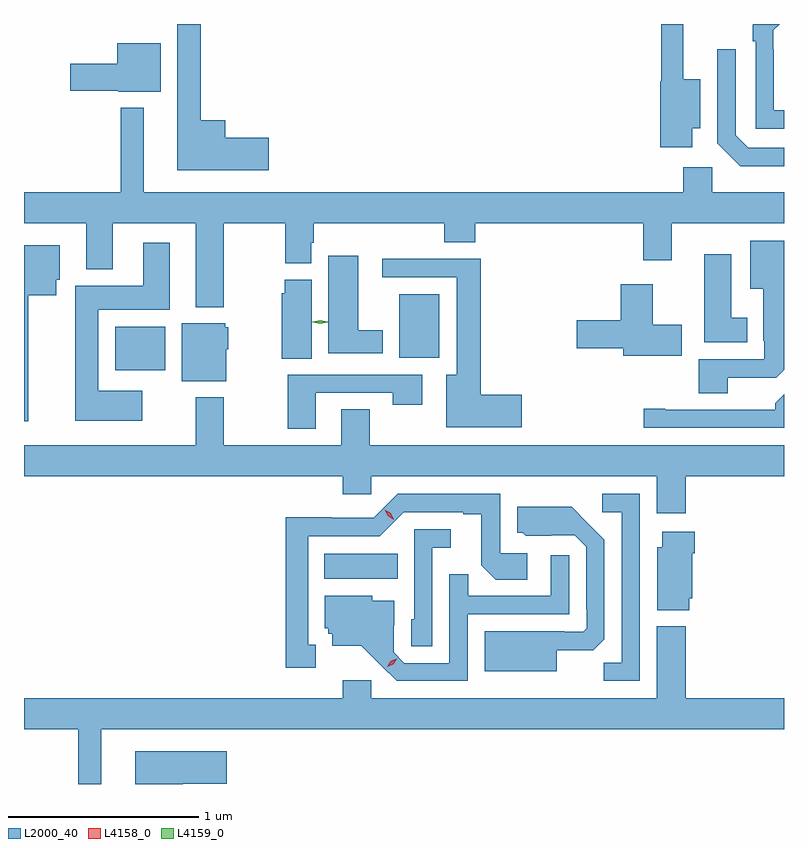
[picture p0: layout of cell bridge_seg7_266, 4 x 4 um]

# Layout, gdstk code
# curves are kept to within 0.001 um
import gdstk
lib = gdstk.Library(unit=1e-6, precision=1e-09)
def R(c, l, rs):  # rectangles x0, y0, x1, y1
    for r in rs: c.add(gdstk.rectangle(r[:2], r[2:], *l))
def P(c, l, *ps):  # polygons
    for p in ps: c.add(gdstk.Polygon(p, *l))
L2000_40 = (2000, 40)
L4158_0 = (4158, 0)
L4159_0 = (4159, 0)

bridge_seg7_266 = lib.new_cell('bridge_seg7_266')
R(bridge_seg7_266, L2000_40, [(148.025,1024.052,148.412,1024.186), (146.924,1025.15,147.187,1025.38), (148.418,1025.216,148.63,1025.551)])
P(bridge_seg7_266, L2000_40, [(150.444,1026.519),(150.39,1026.519),(150.39,1026.839),(150.387,1026.839),(150.387,1026.939),(150.421,1026.973),(150.283,1026.973),(150.279,1026.969),(150.279,1026.881),(150.294,1026.881),(150.294,1026.423),(150.444,1026.423)],
  [(147.733,1026.374),(147.502,1026.374),(147.502,1026.466),(147.373,1026.466),(147.373,1026.973),(147.251,1026.973),(147.251,1026.203),(147.733,1026.203)],
  [(149.962,1026.425),(150.004,1026.425),(150.004,1026.682),(149.915,1026.682),(149.915,1026.973),(149.797,1026.973),(149.797,1026.672),(149.792,1026.672),(149.792,1026.324),(149.962,1026.324)],
  [(147.163,1026.871),(146.936,1026.871),(146.936,1026.765),(146.688,1026.765),(146.688,1026.623),(146.94,1026.623),(146.94,1026.617),(147.163,1026.617)],
  [(150.444,1026.321),(150.255,1026.321),(150.189,1026.387),(150.189,1026.841),(150.093,1026.841),(150.093,1026.345),(150.214,1026.224),(150.444,1026.224)],
  [(147.495,1025.924),(147.82,1025.924),(147.82,1025.713),(147.955,1025.713),(147.955,1025.823),(147.968,1025.823),(147.968,1025.924),(148.655,1025.924),(148.655,1025.825),(148.82,1025.825),(148.82,1025.924),(149.702,1025.924),(149.702,1025.73),(149.854,1025.73),(149.854,1025.924),(150.444,1025.924),(150.444,1026.088),(150.066,1026.088),(150.066,1026.22),(149.915,1026.22),(149.915,1026.088),(147.073,1026.088),(147.073,1026.532),(146.952,1026.532),(146.952,1026.088),(146.444,1026.088),(146.444,1025.924),(146.771,1025.924),(146.771,1025.681),(146.911,1025.681),(146.911,1025.924),(147.347,1025.924),(147.347,1025.483),(147.495,1025.483)],
  [(150.148,1025.112),(150.402,1025.112),(150.444,1025.154),(150.444,1025.833),(150.266,1025.833),(150.266,1025.579),(150.335,1025.579),(150.335,1025.305),(150.339,1025.305),(150.339,1025.208),(149.996,1025.208),(149.996,1025.029),(150.148,1025.029)],
  [(147.067,1025.044),(146.836,1025.044),(146.836,1025.468),(147.211,1025.468),(147.211,1025.821),(147.071,1025.821),(147.071,1025.596),(146.714,1025.596),(146.714,1024.886),(147.067,1024.886)],
  [(146.467,1025.546),(146.614,1025.546),(146.614,1025.628),(146.632,1025.628),(146.632,1025.809),(146.444,1025.809),(146.444,1024.881),(146.467,1024.881)],
  [(150.25,1025.428),(150.166,1025.428),(150.166,1025.761),(150.023,1025.761),(150.023,1025.297),(150.25,1025.297)],
  [(148.333,1025.362),(148.204,1025.362),(148.204,1025.752),(148.046,1025.752),(148.046,1025.24),(148.333,1025.24)],
  [(149.065,1025.021),(148.847,1025.021),(148.847,1025.738),(148.329,1025.738),(148.329,1025.64),(148.721,1025.64),(148.721,1025.128),(148.667,1025.128),(148.667,1024.85),(149.065,1024.85)],
  [(147.958,1025.628),(147.817,1025.628),(147.817,1025.556),(147.8,1025.556),(147.8,1025.212),(147.958,1025.212)],
  [(149.905,1025.391),(149.752,1025.391),(149.752,1025.602),(149.585,1025.602),(149.585,1025.414),(149.352,1025.414),(149.352,1025.267),(149.597,1025.267),(149.597,1025.228),(149.905,1025.228)],
  [(147.508,1025.262),(147.52,1025.262),(147.52,1025.376),(147.504,1025.376),(147.504,1025.398),(147.275,1025.398),(147.275,1025.093),(147.508,1025.093)],
  [(147.979,1025.031),(148.384,1025.031),(148.384,1024.968),(148.54,1024.968),(148.54,1025.127),(147.832,1025.127),(147.832,1024.842),(147.979,1024.842)],
  [(150.444,1025.025),(150.398,1024.978),(150.398,1024.944),(149.818,1024.944),(149.818,1024.949),(149.706,1024.949),(149.706,1024.848),(150.444,1024.848)],
  [(149.927,1024.592),(150.444,1024.592),(150.444,1024.756),(148.263,1024.756),(148.263,1024.946),(148.115,1024.946),(148.115,1024.756),(147.495,1024.756),(147.495,1025.008),(147.347,1025.008),(147.347,1024.756),(146.444,1024.756),(146.444,1024.592),(148.121,1024.592),(148.121,1024.499),(148.272,1024.499),(148.272,1024.592),(149.774,1024.592),(149.774,1024.398),(149.927,1024.398)],
  [(149.685,1024.5),(149.487,1024.5),(149.487,1024.404),(149.589,1024.404),(149.589,1023.611),(149.494,1023.611),(149.494,1023.516),(149.685,1023.516)],
  [(147.979,1023.705),(147.94,1023.705),(147.94,1024.278),(148.317,1024.278),(148.443,1024.404),(148.757,1024.404),(148.757,1024.392),(148.851,1024.392),(148.851,1024.124),(148.927,1024.048),(149.092,1024.048),(149.092,1024.188),(148.95,1024.188),(148.95,1024.5),(148.41,1024.5),(148.284,1024.374),(148.062,1024.374),(148.062,1024.376),(147.822,1024.376),(147.822,1023.585),(147.979,1023.585)],
  [(149.248,1023.677),(149.44,1023.677),(149.499,1023.736),(149.499,1024.258),(149.327,1024.432),(149.039,1024.432),(149.039,1024.296),(149.07,1024.296),(149.086,1024.28),(149.343,1024.281),(149.403,1024.221),(149.403,1023.892),(149.406,1023.892),(149.406,1023.792),(149.388,1023.774),(149.288,1023.774),(149.288,1023.778),(148.868,1023.778),(148.868,1023.566),(149.248,1023.566)],
  [(148.593,1024.217),(148.69,1024.217),(148.69,1024.314),(148.497,1024.314),(148.497,1023.84),(148.482,1023.84),(148.482,1023.697),(148.593,1023.697)],
  [(149.944,1023.951),(149.962,1023.951),(149.962,1024.187),(149.975,1024.187),(149.975,1024.3),(149.804,1024.3),(149.804,1024.218),(149.777,1024.218),(149.777,1023.887),(149.944,1023.887)],
  [(148.779,1023.867),(149.313,1023.867),(149.313,1024.177),(149.217,1024.177),(149.217,1023.963),(148.781,1023.963),(148.781,1024.076),(148.683,1024.076),(148.683,1023.609),(148.446,1023.609),(148.389,1023.666),(148.389,1023.808),(148.393,1023.808),(148.393,1023.937),(148.278,1023.937),(148.278,1023.964),(148.028,1023.964),(148.028,1023.792),(148.044,1023.792),(148.044,1023.765),(148.067,1023.765),(148.067,1023.701),(148.219,1023.701),(148.406,1023.516),(148.779,1023.516)],
  [(146.851,1023.26),(150.444,1023.26),(150.444,1023.424),(149.927,1023.424),(149.927,1023.802),(149.774,1023.802),(149.774,1023.424),(148.272,1023.424),(148.272,1023.52),(148.121,1023.52),(148.121,1023.424),(146.444,1023.424),(146.444,1023.26),(146.73,1023.26),(146.73,1022.973),(146.851,1022.973)],
  [(147.28,1022.975),(147.511,1022.975),(147.511,1023.145),(147.029,1023.145),(147.029,1022.973),(147.28,1022.973)])
P(bridge_seg7_266, L4158_0, [(148.356,1023.589),(148.356,1023.589),(148.374,1023.619),(148.404,1023.633),(148.405,1023.633),(148.405,1023.633),(148.387,1023.604),(148.357,1023.589)],
  [(148.39,1024.365),(148.359,1024.384),(148.342,1024.417),(148.342,1024.417),(148.342,1024.417),(148.374,1024.398),(148.391,1024.365),(148.391,1024.365)])
P(bridge_seg7_266, L4159_0, [(148.003,1025.395),(147.963,1025.404),(147.963,1025.405),(147.963,1025.405),(148.003,1025.415),(148.042,1025.405),(148.043,1025.405),(148.042,1025.404)])

lib.write_gds('bridge_seg7_266.gds')
